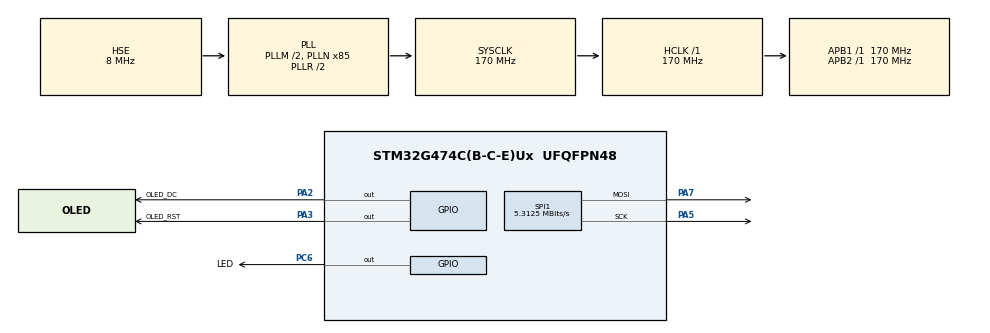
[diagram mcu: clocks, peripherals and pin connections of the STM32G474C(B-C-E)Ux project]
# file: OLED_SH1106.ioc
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Dma.Request0=SPI1_TX
Dma.SPI1_TX.0.Direction=DMA_MEMORY_TO_PERIPH
Dma.SPI1_TX.0.EventEnable=DISABLE
Dma.SPI1_TX.0.Instance=DMA1_Channel1
Dma.SPI1_TX.0.MemDataAlignment=DMA_MDATAALIGN_BYTE
Dma.SPI1_TX.0.MemInc=DMA_MINC_ENABLE
Dma.SPI1_TX.0.Mode=DMA_NORMAL
Dma.SPI1_TX.0.PeriphDataAlignment=DMA_PDATAALIGN_BYTE
Dma.SPI1_TX.0.PeriphInc=DMA_PINC_DISABLE
Dma.SPI1_TX.0.Polarity=HAL_DMAMUX_REQ_GEN_RISING
Dma.SPI1_TX.0.Priority=DMA_PRIORITY_LOW
Dma.SPI1_TX.0.RequestNumber=1
Dma.SPI1_TX.0.SignalID=NONE
Dma.SPI1_TX.0.SyncEnable=DISABLE
Dma.SPI1_TX.0.SyncPolarity=HAL_DMAMUX_SYNC_NO_EVENT
Dma.SPI1_TX.0.SyncRequestNumber=1
Dma.SPI1_TX.0.SyncSignalID=NONE
Mcu.Family=STM32G4
Mcu.Name=STM32G474C(B-C-E)Ux
Mcu.Package=UFQFPN48
NVIC.DMA1_Channel1_IRQn=true\:0\:0\:false\:false\:true\:false\:true\:true
NVIC.PriorityGroup=NVIC_PRIORITYGROUP_4
NVIC.TIM5_IRQn=true\:0\:0\:false\:false\:true\:true\:true\:true
NVIC.TIM7_DAC_IRQn=true\:15\:0\:false\:false\:true\:false\:true\:true
NVIC.TimeBase=TIM7_DAC_IRQn
NVIC.TimeBaseIP=TIM7
PA13.Mode=Serial_Wire
PA13.Signal=SYS_JTMS-SWDIO
PA14.Mode=Serial_Wire
PA14.Signal=SYS_JTCK-SWCLK
PA2.GPIO_Label=OLED_DC
PA2.GPIO_Speed=GPIO_SPEED_FREQ_MEDIUM
PA2.Signal=GPIO_Output
PA3.GPIO_Label=OLED_RST
PA3.Signal=GPIO_Output
PA5.GPIO_Speed=GPIO_SPEED_FREQ_VERY_HIGH
PA5.Mode=TX_Only_Simplex_Unidirect_Master
PA5.Signal=SPI1_SCK
PA7.GPIO_Speed=GPIO_SPEED_FREQ_VERY_HIGH
PA7.Mode=TX_Only_Simplex_Unidirect_Master
PA7.Signal=SPI1_MOSI
PC14-OSC32_IN.Mode=LSE-External-Oscillator
PC14-OSC32_IN.Signal=RCC_OSC32_IN
PC15-OSC32_OUT.Mode=LSE-External-Oscillator
PC15-OSC32_OUT.Signal=RCC_OSC32_OUT
PC6.GPIO_Label=LED
PC6.Signal=GPIO_Output
PF0-OSC_IN.Mode=HSE-External-Oscillator
PF0-OSC_IN.Signal=RCC_OSC_IN
PF1-OSC_OUT.Mode=HSE-External-Oscillator
PF1-OSC_OUT.Signal=RCC_OSC_OUT
ProjectManager.HeapSize=0x200
ProjectManager.StackSize=0x400
ProjectManager.TargetToolchain=STM32CubeIDE
RCC.ADC12Freq_Value=170000000
RCC.ADC345Freq_Value=170000000
RCC.AHBFreq_Value=170000000
RCC.APB1Freq_Value=170000000
RCC.APB1TimFreq_Value=170000000
RCC.APB2Freq_Value=170000000
RCC.APB2TimFreq_Value=170000000
RCC.CortexFreq_Value=170000000
RCC.EXTERNAL_CLOCK_VALUE=12288000
RCC.HCLKFreq_Value=170000000
RCC.HSE_VALUE=8000000
RCC.HSI48_VALUE=48000000
RCC.HSI_VALUE=16000000
RCC.PLLM=RCC_PLLM_DIV2
RCC.PLLN=85
RCC.PLLSourceVirtual=RCC_PLLSOURCE_HSE
RCC.SYSCLKFreq_VALUE=170000000
RCC.SYSCLKSource=RCC_SYSCLKSOURCE_PLLCLK
RCC.USBFreq_Value=170000000
RCC.VCOOutputFreq_Value=340000000
SPI1.BaudRatePrescaler=SPI_BAUDRATEPRESCALER_32
SPI1.CLKPhase=SPI_PHASE_2EDGE
SPI1.CLKPolarity=SPI_POLARITY_HIGH
SPI1.CalculateBaudRate=5.3125 MBits/s
SPI1.DataSize=SPI_DATASIZE_8BIT
SPI1.Direction=SPI_DIRECTION_2LINES
SPI1.Mode=SPI_MODE_MASTER
SPI1.VirtualType=VM_MASTER
TIM5.PeriodNoDither=17000000
TIM5.Prescaler=5
VP_SYS_VS_DBSignals.Mode=DisableDeadBatterySignals
VP_SYS_VS_tim7.Mode=TIM7
VP_TIM5_VS_ClockSourceINT.Mode=Internal
board=custom

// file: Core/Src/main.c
/* USER CODE BEGIN Header */
/**
  ******************************************************************************
  * @file           : main.c
  * @brief          : Main program body
  ******************************************************************************
  * @attention
  *
  * Copyright (c) 2025 STMicroelectronics.
  * All rights reserved.
  *
  * This software is licensed under terms that can be found in the LICENSE file
  * in the root directory of this software component.
  * If no LICENSE file comes with this software, it is provided AS-IS.
  *
  ******************************************************************************
  */
/* USER CODE END Header */
#include "main.h"
#include "dma.h"
#include "spi.h"
#include "tim.h"
#include "gpio.h"

/* USER CODE BEGIN Includes */
#include <string.h>
#include "oled.h"
#include "gui.h"
#include "fonts.h"
#include "test.h"
//#include "ter-k24n.h"
/* USER CODE END Includes */

/* USER CODE BEGIN PV */
uint8_t Image[8 * 128] = { 0, };
/* USER CODE END PV */

void SystemClock_Config(void);
/* USER CODE BEGIN PFP */
void init(void);
void loop(void);

/* USER CODE END PFP */

/* USER CODE BEGIN 0 */
void init(void)
{
	HAL_TIM_Base_Start_IT(&htim5);
	OLED_Init();
	memset(Image, 0, 8 * 128);
//	test_OLED_DrawRect();
	KOI8Rx24_decompress_sym(48, 0);

	return;
}

void loop(void)
{
#define TESTS
#ifdef TESTS
	void (*TestFunctions[])(void) = {
			test_OLED_DrawPoint,
			test_OLED_DrawLine,
			test_OLED_DrawPattern,
			test_OLED_DrawRect,
			test_OLED_DrawRoundRect,
			test_OLED_DrawCircle,
			test_OLED_DrawText,
			test_OLED_DrawMainScreen,
			test_OLED_Ranges,
	};

	for (int i = 0; i < 9; ++i)
	{
		TestFunctions[i]();
		HAL_Delay(500);
		OLED_Clear();
		OLED_RefreshScreen();
	}
#else
	test_OLED_DrawMainScreen();
	__NOP();
#endif

	return;
}

// ------------------------------------------------------------------------------
void SendDataByte(uint8_t value)
{
	const uint8_t pData[1] = { value };
	uint16_t Size = 1;

	HAL_GPIO_WritePin(OLED_DC_GPIO_Port, OLED_DC_Pin, GPIO_PIN_SET);
	HAL_SPI_Transmit_DMA(&hspi1, pData, Size);

	return;
}

void SendCommandByte(uint8_t value)
{
	const uint8_t pData[1] = { value };
	uint16_t Size = 1;

	HAL_GPIO_WritePin(OLED_DC_GPIO_Port, OLED_DC_Pin, GPIO_PIN_RESET);
	HAL_SPI_Transmit_DMA(&hspi1, pData, Size);

	return;
}
// ------------------------------------------------------------------------------

/* USER CODE END 0 */

int main(void)
{

  /* MCU Configuration--------------------------------------------------------*/

  /* Reset of all peripherals, Initializes the Flash interface and the Systick. */
  HAL_Init();

  /* Configure the system clock */
  SystemClock_Config();

  /* Initialize all configured peripherals */
  MX_GPIO_Init();
  MX_DMA_Init();
  MX_SPI1_Init();
  MX_TIM5_Init();
  /* USER CODE BEGIN 2 */
  init();
  /* USER CODE END 2 */

  /* Infinite loop */
  /* USER CODE BEGIN WHILE */
  while (1)
  {
	loop();
    /* USER CODE END WHILE */

  }
}

void SystemClock_Config(void)
{
  RCC_OscInitTypeDef RCC_OscInitStruct = {0};
  RCC_ClkInitTypeDef RCC_ClkInitStruct = {0};

  /** Configure the main internal regulator output voltage
  */
  HAL_PWREx_ControlVoltageScaling(PWR_REGULATOR_VOLTAGE_SCALE1_BOOST);

  /** Initializes the RCC Oscillators according to the specified parameters
  * in the RCC_OscInitTypeDef structure.
  */
  RCC_OscInitStruct.OscillatorType = RCC_OSCILLATORTYPE_HSE;
  RCC_OscInitStruct.HSEState = RCC_HSE_ON;
  RCC_OscInitStruct.PLL.PLLState = RCC_PLL_ON;
  RCC_OscInitStruct.PLL.PLLSource = RCC_PLLSOURCE_HSE;
  RCC_OscInitStruct.PLL.PLLM = RCC_PLLM_DIV2;
  RCC_OscInitStruct.PLL.PLLN = 85;
  RCC_OscInitStruct.PLL.PLLP = RCC_PLLP_DIV2;
  RCC_OscInitStruct.PLL.PLLQ = RCC_PLLQ_DIV2;
  RCC_OscInitStruct.PLL.PLLR = RCC_PLLR_DIV2;
  if (HAL_RCC_OscConfig(&RCC_OscInitStruct) != HAL_OK)
  {
    Error_Handler();
  }

  /** Initializes the CPU, AHB and APB buses clocks
  */
  RCC_ClkInitStruct.ClockType = RCC_CLOCKTYPE_HCLK|RCC_CLOCKTYPE_SYSCLK
                              |RCC_CLOCKTYPE_PCLK1|RCC_CLOCKTYPE_PCLK2;
  RCC_ClkInitStruct.SYSCLKSource = RCC_SYSCLKSOURCE_PLLCLK;
  RCC_ClkInitStruct.AHBCLKDivider = RCC_SYSCLK_DIV1;
  RCC_ClkInitStruct.APB1CLKDivider = RCC_HCLK_DIV1;
  RCC_ClkInitStruct.APB2CLKDivider = RCC_HCLK_DIV1;

  if (HAL_RCC_ClockConfig(&RCC_ClkInitStruct, FLASH_LATENCY_4) != HAL_OK)
  {
    Error_Handler();
  }
}

void HAL_TIM_PeriodElapsedCallback(TIM_HandleTypeDef *htim)
{
  /* USER CODE BEGIN Callback 0 */
  if (htim->Instance == TIM5)
  {
     HAL_GPIO_TogglePin(LED_GPIO_Port, LED_Pin);
  }
  /* USER CODE END Callback 0 */
  if (htim->Instance == TIM7)
  {
    HAL_IncTick();
  }
}

void Error_Handler(void)
{
  __disable_irq();
  while (1)
  {
  }
}
